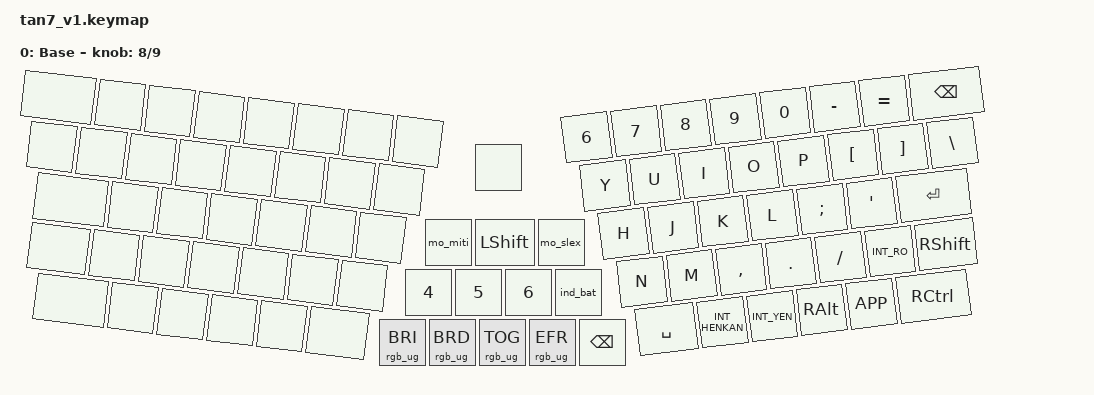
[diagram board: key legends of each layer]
#include <behaviors.dtsi>
#include <dt-bindings/zmk/bt.h>
#include <dt-bindings/zmk/keys.h> 
#include <dt-bindings/zmk/modifiers.h>
#include <dt-bindings/zmk/mouse.h>
#include <dt-bindings/zmk/outputs.h>
#include <behaviors/rgbled_widget.dtsi>  //キースイッチバッテリーウィジット
#include <dt-bindings/zmk/rgb.h>         //LEDキースイッチ制御

/ {
   behaviors {
        // 通常時は「?」、Shift時は「!」
        mo_slex: slash_exclamation {
            compatible = "zmk,behavior-mod-morph";
            #binding-cells = <0>;
            bindings = <&kp LS(SLASH)>, <&kp LS(NUMBER_1)>;
            mods = <(MOD_LSFT|MOD_RSFT)>;
        };
        // 通常時は「-」、Shift時は「~」
        mo_miti: minus_tilde {
            compatible = "zmk,behavior-mod-morph";
            #binding-cells = <0>;
            bindings = <&kp MINUS>, <&kp LS(EQUAL)>;
            mods = <(MOD_LSFT|MOD_RSFT)>;
       };
   };

   keymap {
        compatible = "zmk,keymap";

        default_layer { // Layer 0
            display-name = "Base";

        // |  0 |  1 |  2 |  3 |  4 |  5 |  6 |  7 |           |  8 |         | |  9 | 10 | 11 | 12 | 13 | 14 | 15 | 16 | 
        // | 17 | 18 | 19 | 20 | 21 | 22 | 23 | 24 |                          | | 25 | 26 | 27 | 28 | 29 | 30 | 31 | 32 |
        //      | 33 | 34 | 35 | 36 | 37 | 38 | 39 |      | 40 | 41 | 42 |    | | 43 | 44 | 45 | 46 | 47 | 48 | 49 |
        //      | 50 | 51 | 52 | 53 | 54 | 55 | 56 | | 57 | 58 |    | 59 | 60 | | 61 | 62 | 63 | 64 | 65 | 66 | 67 |
        //           | 68 | 69 | 70 | 71 | 72 | 73 | | 74 | 75 | 76 | 77 | 78 | | 79 | 80 | 81 | 82 | 83 | 84 |

         bindings = <
            &none   &none   &none   &none   &none   &none   &none   &none                                    &none                                             &kp N6       &kp N7   &kp N8      &kp N9        &kp N0     &kp MINUS     &kp EQUAL   &kp BACKSPACE
            &none   &none   &none   &none   &none   &none   &none   &none                                                                                      &kp Y        &kp U    &kp I       &kp O         &kp P      &kp LBKT      &kp RBKT    &kp BSLH
                    &none   &none   &none   &none   &none   &none   &none                   &mo_miti         &kp LSHIFT       &mo_slex                         &kp H        &kp J    &kp K       &kp L         &kp SEMI   &kp SQT       &kp ENTER
                    &none   &none   &none   &none   &none   &none   &none  &kp N4           &kp N5           &kp N6           &ind_bat                         &kp N        &kp M    &kp COMMA   &kp DOT       &kp FSLH   &kp INT_RO    &kp RSHIFT
                            &none   &none   &none   &none   &none   &none  &rgb_ug RGB_BRI  &rgb_ug RGB_BRD  &rgb_ug RGB_TOG  &rgb_ug RGB_EFR  &kp BACKSPACE   &kp SPACE    &kp INT_HENKAN       &kp INT_YEN   &kp RALT   &kp K_APP     &kp RCTRL
            >;
        sensor-bindings = <&inc_dec_kp N8 N9>;      //sensor-bindings = <BINDING [CW_KEY] [CCW_KEY]>;
        };
    };
};
